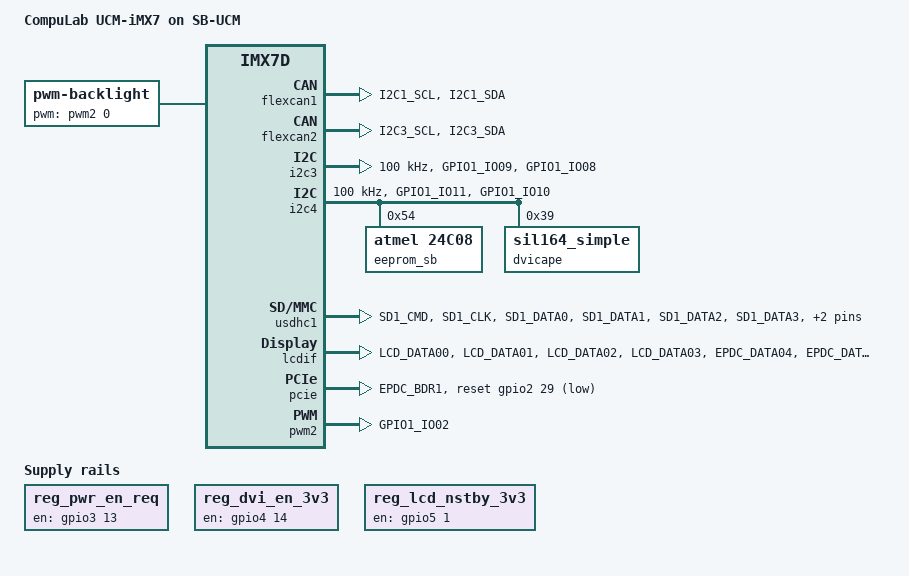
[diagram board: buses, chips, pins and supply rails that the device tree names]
/*
 * Support for CompuLab SBC-UCM-iMX7 Single Board Computer
 *
 * Copyright (C) 2017 CompuLab Ltd. - http://www.compulab.co.il/
 * Author: Ilya Ledvich <ilya@compulab.co.il>
 *
 * This program is free software; you can redistribute it and/or modify
 * it under the terms of the GNU General Public License version 2 as
 * published by the Free Software Foundation.
 */

#include "imx7d-ucm-imx7.dts"

/ {
	model = "CompuLab UCM-iMX7 on SB-UCM";
	compatible = "compulab,sbc-ucm-imx7", "compulab,ucm-imx7", "fsl,imx7d";

	aliases {
		lcdif = &lcdif;
	};

	backlight {
		compatible = "pwm-backlight";
		pwms = <&pwm2 0 5000000>;
		brightness-levels = <0 4 8 16 32 64 128 255>;
		default-brightness-level = <6>;
		status = "okay";
	};

	regulators {
		reg_pwr_en_req: pwr_en_req {
			compatible = "regulator-fixed";
			regulator-name = "pwr_en_req";
			gpio = <&gpio3 13 0>;
			enable-active-high;
			regulator-always-on;
		};

		reg_dvi_en_3v3: dvi_en_3v3 {
			compatible = "regulator-fixed";
			regulator-name = "dvi_en_3v3";
			gpio = <&gpio4 14 0>;
			enable-active-high;
			regulator-always-on;
		};

		reg_lcd_nstby_3v3: lcd_nstby_3v3 {
			compatible = "regulator-fixed";
			regulator-name = "lcd_nstby_3v3";
			gpio = <&gpio5 1 0>;
			enable-active-high;
			regulator-always-on;
		};
	};
};

&flexcan1 {
	pinctrl-names = "default";
	pinctrl-0 = <&pinctrl_flexcan1>;
	status = "okay";
};

&flexcan2 {
	pinctrl-names = "default";
	pinctrl-0 = <&pinctrl_flexcan2>;
	status = "okay";
};

&i2c3 {
	clock-frequency = <100000>;
	pinctrl-names = "default";
	pinctrl-0 = <&pinctrl_i2c3>;
	status = "okay";
};

&i2c4 {
	clock-frequency = <100000>;
	pinctrl-names = "default";
	pinctrl-0 = <&pinctrl_i2c4>;
	status = "okay";

	eeprom_sb@54 {
		compatible = "atmel,24c08";
		reg = <0x54>;
		pagesize = <16>;
	};

	dvicape@39 {
		compatible = "sil164_simple";
		reg = <0x39>;
	};
};

&usdhc1 {
	pinctrl-names = "default";
	pinctrl-0 = <&pinctrl_usdhc1>;
	cd-gpios = <&gpio5 0 GPIO_ACTIVE_LOW>;
	enable-sdio-wakeup;
	status = "okay";
};

&iomuxc {
	pinctrl-names = "default_sbc";
	pinctrl-1 = <&pinctrl_hog_sbc>;

	sbc-ucm-imx7 {
		pinctrl_hog_sbc: hogsbcgrp {
			fsl,pins = <
				MX7D_PAD_LCD_DATA08__GPIO3_IO13		0x14 /* PWR_EN_REQ */
				MX7D_PAD_I2C4_SCL__GPIO4_IO14		0x14 /* DVI_EN */
				MX7D_PAD_SD1_WP__GPIO5_IO1		0x14 /* LCD_nSTBY */
			>;
		};

		pinctrl_flexcan1: flexcan1grp {
			fsl,pins = <
				MX7D_PAD_I2C1_SCL__FLEXCAN1_RX		0x59
				MX7D_PAD_I2C1_SDA__FLEXCAN1_TX		0x59
			>;
		};

		pinctrl_flexcan2: flexcan2grp {
			fsl,pins = <
				MX7D_PAD_I2C3_SCL__FLEXCAN2_RX		0x59
				MX7D_PAD_I2C3_SDA__FLEXCAN2_TX		0x59
			>;
		};

		pinctrl_i2c3: i2c3grp {
			fsl,pins = <
				MX7D_PAD_GPIO1_IO09__I2C3_SDA		0x4000000f
				MX7D_PAD_GPIO1_IO08__I2C3_SCL		0x4000000f
			>;
		};

		pinctrl_i2c4: i2c4grp {
			fsl,pins = <
				MX7D_PAD_GPIO1_IO11__I2C4_SDA		0x4000000f
				MX7D_PAD_GPIO1_IO10__I2C4_SCL		0x4000000f
			>;
		};

		pinctrl_lcdif_dat: lcdifdatgrp {
			fsl,pins = <
				MX7D_PAD_LCD_DATA00__LCD_DATA0		0x79
				MX7D_PAD_LCD_DATA01__LCD_DATA1		0x79
				MX7D_PAD_LCD_DATA02__LCD_DATA2		0x79
				MX7D_PAD_LCD_DATA03__LCD_DATA3		0x79
				MX7D_PAD_EPDC_DATA04__LCD_DATA4		0x79
				MX7D_PAD_EPDC_DATA05__LCD_DATA5		0x79
				MX7D_PAD_EPDC_DATA06__LCD_DATA6		0x79
				MX7D_PAD_EPDC_DATA07__LCD_DATA7		0x79
				MX7D_PAD_EPDC_DATA08__LCD_DATA8		0x79
				MX7D_PAD_EPDC_DATA09__LCD_DATA9		0x79
				MX7D_PAD_EPDC_DATA10__LCD_DATA10	0x79
				MX7D_PAD_EPDC_DATA11__LCD_DATA11	0x79
				MX7D_PAD_EPDC_DATA12__LCD_DATA12	0x79
				MX7D_PAD_EPDC_DATA13__LCD_DATA13	0x79
				MX7D_PAD_EPDC_DATA14__LCD_DATA14	0x79
				MX7D_PAD_EPDC_DATA15__LCD_DATA15	0x79
				MX7D_PAD_LCD_DATA16__LCD_DATA16		0x79
				MX7D_PAD_LCD_DATA17__LCD_DATA17		0x79
				MX7D_PAD_LCD_DATA18__LCD_DATA18		0x79
				MX7D_PAD_LCD_DATA19__LCD_DATA19		0x79
				MX7D_PAD_LCD_DATA20__LCD_DATA20		0x79
				MX7D_PAD_LCD_DATA21__LCD_DATA21		0x79
				MX7D_PAD_LCD_DATA22__LCD_DATA22		0x79
				MX7D_PAD_LCD_DATA23__LCD_DATA23		0x79
			>;
		};

		pinctrl_lcdif_ctrl: lcdifctrlgrp {
			fsl,pins = <
				MX7D_PAD_EPDC_DATA00__LCD_CLK		0x79
				MX7D_PAD_EPDC_DATA01__LCD_ENABLE	0x79
				MX7D_PAD_EPDC_DATA02__LCD_VSYNC		0x79
				MX7D_PAD_EPDC_DATA03__LCD_HSYNC		0x79
			>;
		};

		pinctrl_pcie: pciegrp {
			fsl,pins = <
				MX7D_PAD_EPDC_BDR1__GPIO2_IO29		0x14 /* PCIe_nRST */
			>;
		};

		pinctrl_usdhc1: usdhc1grp {
			fsl,pins = <
				MX7D_PAD_SD1_CMD__SD1_CMD		0x59
				MX7D_PAD_SD1_CLK__SD1_CLK		0x19
				MX7D_PAD_SD1_DATA0__SD1_DATA0		0x59
				MX7D_PAD_SD1_DATA1__SD1_DATA1		0x59
				MX7D_PAD_SD1_DATA2__SD1_DATA2		0x59
				MX7D_PAD_SD1_DATA3__SD1_DATA3		0x59
				MX7D_PAD_SD1_CD_B__GPIO5_IO0		0x59 /* CD */
			>;
		};
	};
};

&iomuxc_lpsr {
	sbc-ucm-imx7 {
		pinctrl_pwm2: pwm2grp {
			fsl,pins = <
				MX7D_PAD_GPIO1_IO02__PWM2_OUT		0x110b0
			>;
		};
	};
};

&lcdif {
	pinctrl-names = "default";
	pinctrl-0 = <&pinctrl_lcdif_dat
		     &pinctrl_lcdif_ctrl>;
	display = <&display0>;
	status = "okay";

	display0: display {
		bits-per-pixel = <24>;
		bus-width = <24>;

		display-timings {
			native-mode = <&timing0>;
			timing0: lcd {
				clock-frequency = <29580000>;
				hactive = <800>;
				vactive = <480>;
				hfront-porch = <16>;
				hback-porch = <1>;
				hsync-len = <80>;
				vback-porch = <13>;
				vfront-porch = <16>;
				vsync-len = <16>;

				hsync-active = <0>;
				vsync-active = <0>;
				de-active = <1>;
				pixelclk-active = <0>;
			};

			timing1: dvi {
				/* 1024x768p60 */
				clock-frequency = <65000000>;
				hactive = <1024>;
				vactive = <768>;
				hback-porch = <220>;
				hfront-porch = <40>;
				vback-porch = <21>;
				vfront-porch = <7>;
				hsync-len = <60>;
				vsync-len = <10>;

				hsync-active = <0>;
				vsync-active = <0>;
				de-active = <1>;
				pixelclk-active = <0>;
			};
		};
	};
};

&pcie {
	pinctrl-names = "default";
	pinctrl-0 = <&pinctrl_pcie>;
	reset-gpio = <&gpio2 29 GPIO_ACTIVE_LOW>;
	phy-ref-clk = <1>;
	status = "okay";
};

&pwm2 {
	pinctrl-names = "default";
	pinctrl-0 = <&pinctrl_pwm2>;
	status = "okay";
};
